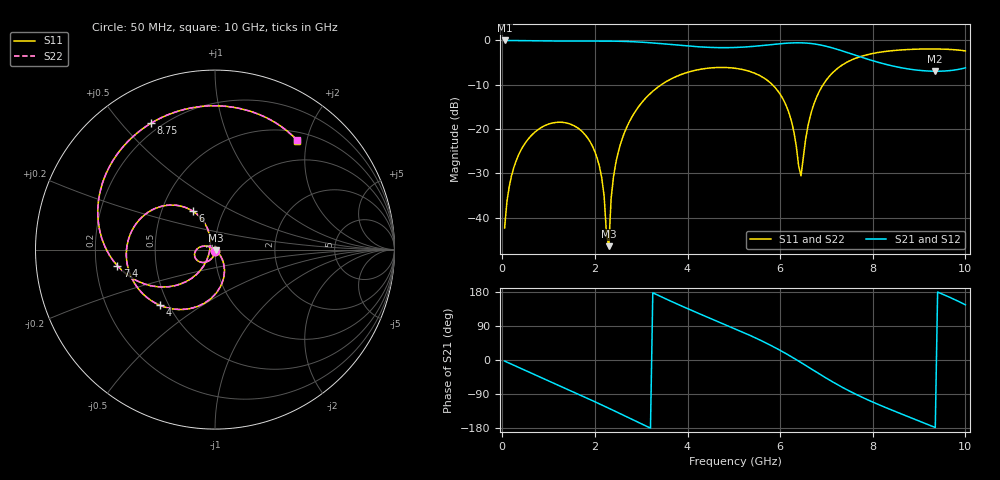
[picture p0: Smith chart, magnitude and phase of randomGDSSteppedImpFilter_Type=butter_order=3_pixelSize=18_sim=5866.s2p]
! freq	dB(S11)	phase(S11)	dB(S12)	phase(S12)
!  dB(S21)	phase(S21)	dB(S22)	phase(S22)
!S-par simulation data
#  GHz  S  DB  R 50
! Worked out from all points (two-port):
!   200 points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, 50 MHz to 10 GHz, reference 50 ohm
!   highest |S21| = 0.00 dB at 50 MHz (marker M1); lowest = -7.0 dB at 9.35 GHz (marker M2)
!   |S21| within 3 dB of the highest: start of sweep to 7.528 GHz
!   lowest |S11| = -46.5 dB at 2.3 GHz (marker M3), VSWR 1.01, Z = 50.3 - j0.325 ohm
!   |S11| at or under -10 dB: start of sweep to 3.433 GHz; 5.832 GHz to 6.928 GHz (1.097 GHz wide, 17.2 % of centre)
!   |S22| runs from -46.0 to -1.9 dB; largest |S21 - S12| = 0
!   S11 on the Smith chart (normalised r, x): 50 MHz: 1.00, -0.02; 4 GHz: 0.45, -0.34; 6 GHz: 0.72, +0.33; 7.4 GHz: 0.29, -0.07; 8.75 GHz: 0.16, +0.60; 10 GHz: 0.63, +1.83
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0.05  -42.34 -91.7  -0.00 -2.8  -0.00 -2.8  -42.36 -91.8
0.2  -30.53 -100.8  -0.02 -11.1  -0.02 -11.1  -30.54 -100.8
0.55  -22.39 -120.9  -0.07 -30.4  -0.07 -30.4  -22.38 -120.9
1.15  -18.53 -154.0  -0.13 -63.2  -0.13 -63.2  -18.53 -153.8
1.75  -20.85 173.1  -0.15 -96.2  -0.15 -96.2  -20.85 173.4
2.1  -28.56 153.6  -0.14 -115.9  -0.14 -115.9  -28.57 154.8
2.3  -46.46 -42.8  -0.15 -127.3  -0.15 -127.3  -46.05 -55.8
2.35  -35.69 -42.1  -0.16 -130.2  -0.16 -130.2  -35.64 -45.4
2.4  -30.90 -44.6  -0.16 -133.1  -0.16 -133.1  -30.87 -46.5
2.55  -23.47 -52.9  -0.19 -141.8  -0.19 -141.8  -23.46 -53.8
3.4  -10.24 -101.9  -0.69 168.7  -0.69 168.7  -10.24 -102.1
4  -7.21 -134.6  -1.25 135.6  -1.25 135.6  -7.20 -134.8
5.05  -6.31 171.9  -1.58 81.1  -1.58 81.1  -6.31 171.7
6  -12.15 120.0  -0.74 25.5  -0.74 25.5  -12.15 119.8
6.25  -18.47 109.7  -0.56 8.1  -0.56 8.1  -18.49 109.3
6.45  -30.58 -176.5  -0.54 -6.6  -0.54 -6.6  -30.80 -176.3
6.7  -15.26 -126.8  -0.74 -25.6  -0.74 -25.6  -15.27 -126.6
7.4  -5.16 -170.7  -2.56 -75.8  -2.56 -75.8  -5.16 -170.6
8.35  -2.39 136.4  -5.57 -129.1  -5.57 -129.1  -2.39 136.5
8.75  -2.06 116.8  -6.41 -148.7  -6.41 -148.7  -2.06 116.9
9.35  -1.93 87.6  -6.96 -178.2  -6.96 -178.2  -1.93 87.8
10  -2.37 53.0  -6.19 145.6  -6.19 145.6  -2.37 53.2
